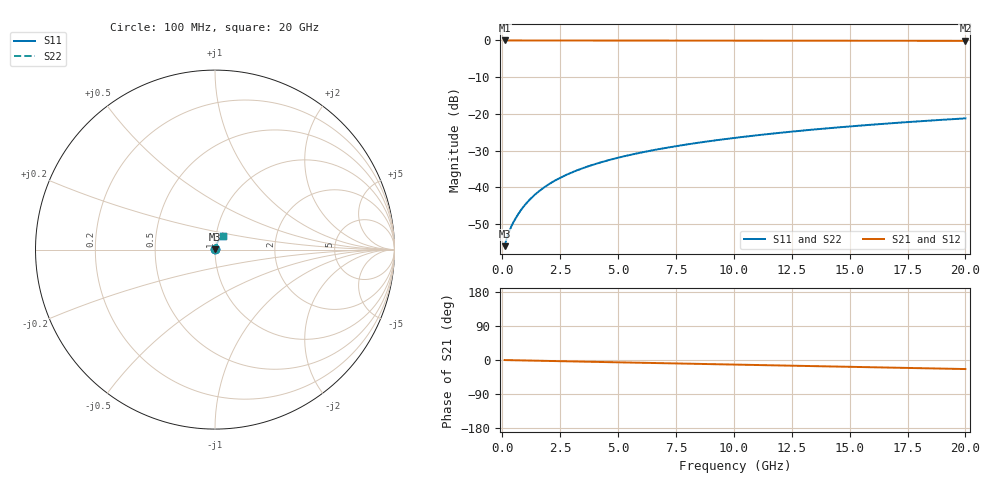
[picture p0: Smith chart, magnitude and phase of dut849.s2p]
! Touchstone file exported from HFSS 2026.1.0
!  File:  C:/ffzhzh/LocalFiles/Ansys_Project_Files/temp_train_BSMRDL_849_1783170545_51560.aedt
!  Generated:  09:10:15 PM Jul  4, 2026
!  Design:  BSMRDL
!  Project:  temp_train_BSMRDL_849_1783170545_51560
! Variables:
!  h_bsmrdl = 4.97um
!  h_ox = 20um
!  h_rdl = 5um
!  h_sub = 80um
!  h_tmrdl = 5um
!  h_tsv = 80um
!  h_via = 3um
!  l_bsmrdl = 403.98um
!  l_sub = 803.98um
!  l_tmrdl = 200um
!  m_sub = 200um
!  pitch = 34.4um
!  r_tsv = 6um
!  s_tmrdl = 10um
!  w_bsmrdl = 25.25um
!  w_sub = 500um
!  w_tmrdl = 12um
!  x_tsv_center1 = 206um
!  x_tsv_center2 = 635.23um
!  x_tsv_center3 = 847.23um
!  x_tsv_center4 = 1276.46um
!  x_tsv_center5 = 1488.46um
!  x_tsv_center6 = 1917.69um
# GHz S MA R 50.000000
! Terminal data exported
! Port[1] = BSM_RDL1_1_T1
! Port[2] = BSM_RDL1_1_T2
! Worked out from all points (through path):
!   200 points, 100 MHz to 20 GHz, reference 50 ohm
!   highest |S21| = -0.01 dB at 100 MHz (marker M1); lowest = -0.1 dB at 20 GHz (marker M2)
!   group delay of S21, straight-line fit = 3.31 ps
!   lowest |S11| = -56.1 dB at 100 MHz (marker M3), VSWR 1.00, Z = 50.1 + j0.0769 ohm
!   |S11| at or under -10 dB: start of sweep to end of sweep
!   |S22| runs from -56.1 to -21.2 dB; largest |S21 - S12| = 9.6e-15
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0.1  0.001572 29.2  0.9986 -0.1  0.9986 -0.1  0.001572 29.2
! Gamma 0 0 0 0
! Port Impedance 50 0 50 0
0.2  0.002069 41.3  0.9985 -0.3  0.9985 -0.3  0.002069 41.3
0.3  0.002524 48.2  0.9983 -0.4  0.9983 -0.4  0.002524 48.2
0.5  0.003418 57.6  0.9981 -0.6  0.9981 -0.6  0.003417 57.6
0.6  0.003882 60.9  0.9981 -0.8  0.9981 -0.8  0.003882 60.9
0.8  0.004846 65.7  0.998 -1.0  0.998 -1.0  0.004846 65.7
1  0.005841 68.8  0.9979 -1.3  0.9979 -1.3  0.005841 68.9
1.2  0.006852 70.9  0.9978 -1.5  0.9978 -1.5  0.006852 70.9
1.4  0.00787 72.4  0.9978 -1.8  0.9978 -1.8  0.00787 72.4
1.7  0.009399 73.7  0.9976 -2.1  0.9976 -2.1  0.009399 73.7
2.2  0.01192 74.8  0.9973 -2.7  0.9973 -2.7  0.01193 74.8
2.8  0.0149 75.2  0.9969 -3.5  0.9969 -3.5  0.0149 75.2
3.5  0.01827 75.1  0.9965 -4.3  0.9965 -4.3  0.01827 75.1
4.2  0.02155 74.7  0.996 -5.2  0.996 -5.2  0.02155 74.7
5  0.02521 74.2  0.9954 -6.1  0.9954 -6.1  0.02521 74.2
5.9  0.02923 73.5  0.9949 -7.2  0.9949 -7.2  0.02923 73.5
6.8  0.03318 72.8  0.9943 -8.3  0.9943 -8.3  0.03318 72.8
8.3  0.03965 71.5  0.9934 -10.1  0.9934 -10.1  0.03964 71.5
10.1  0.04725 69.9  0.9924 -12.2  0.9924 -12.2  0.04725 70.0
13.4  0.06085 66.8  0.9907 -16.1  0.9907 -16.1  0.06085 66.9
16.7  0.07401 63.5  0.9889 -20.0  0.9889 -20.0  0.074 63.6
20  0.08667 60.1  0.9871 -23.9  0.9871 -23.9  0.08667 60.2
